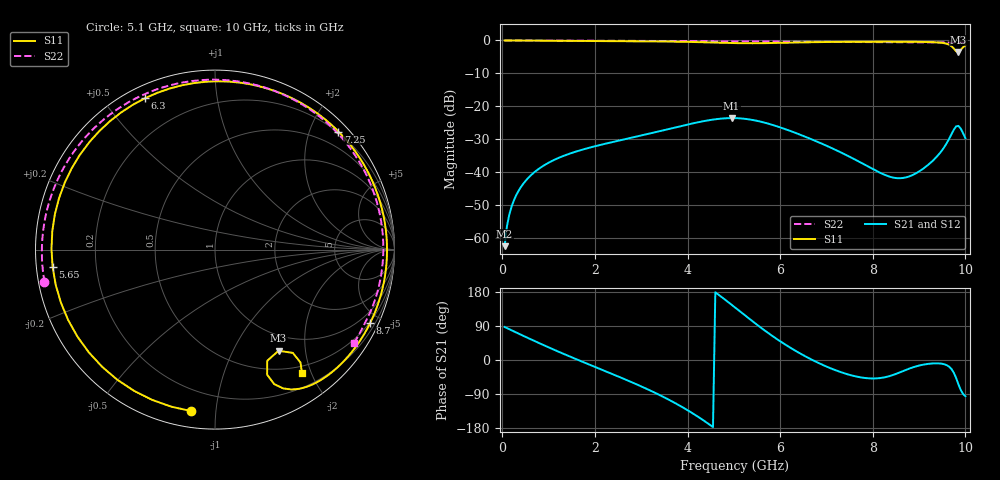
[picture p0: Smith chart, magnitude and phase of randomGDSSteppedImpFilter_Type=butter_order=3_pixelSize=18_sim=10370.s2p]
! freq	dB(S11)	phase(S11)	dB(S12)	phase(S12)
!  dB(S21)	phase(S21)	dB(S22)	phase(S22)
!S-par simulation data
#  GHz  S  DB  R 50
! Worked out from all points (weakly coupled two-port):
!   200 points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, 50 MHz to 10 GHz, reference 50 ohm
!   highest |S21| = -23.62 dB at 4.95 GHz (marker M1); lowest = -62.6 dB at 50 MHz (marker M2)
!   lowest |S11| = -3.5 dB at 9.85 GHz (marker M3), VSWR 4.98, Z = 37.9 - j76.7 ohm
!   |S11| at or under -10 dB: nowhere
!   |S22| runs from -0.6 to 0.0 dB; largest |S21 - S12| = 0
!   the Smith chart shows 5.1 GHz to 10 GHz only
!   S11 on the Smith chart (normalised r, x): 5.1 GHz: 0.08, -0.86; 5.65 GHz: 0.05, -0.05; 6.3 GHz: 0.05, +0.64; 7.25 GHz: 0.18, +2.48; 8.7 GHz: 0.46, -4.39; 10 GHz: 0.40, -1.86
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0.05  -0.00 -4.2  -62.58 87.1  -62.58 87.1  -0.01 -1.7
0.2  -0.02 -16.6  -50.57 78.4  -50.57 78.4  -0.02 -6.6
0.5  -0.05 -40.9  -42.76 61.1  -42.76 61.1  -0.02 -16.5
1.1  -0.10 -88.1  -36.47 28.0  -36.47 28.0  -0.04 -36.2
1.75  -0.15 -136.4  -33.13 -5.6  -33.13 -5.6  -0.07 -57.3
2.55  -0.22 165.7  -30.36 -45.9  -30.36 -45.9  -0.11 -83.1
3.4  -0.30 99.0  -27.59 -92.6  -27.59 -92.6  -0.16 -110.5
3.85  -0.39 57.6  -26.07 -121.7  -26.07 -121.7  -0.19 -125.3
4.3  -0.53 9.0  -24.68 -155.7  -24.68 -155.7  -0.22 -140.6
4.6  -0.65 -28.5  -23.97 178.6  -23.97 178.6  -0.25 -151.0
4.95  -0.78 -76.8  -23.62 145.9  -23.62 145.9  -0.28 -163.7
5.05  -0.81 -91.1  -23.64 136.3  -23.64 136.3  -0.29 -167.4
5.1  -0.82 -98.3  -23.67 131.4  -23.67 131.4  -0.29 -169.2
5.65  -0.82 -174.0  -24.95 79.4  -24.95 79.4  -0.33 169.3
6.3  -0.64 114.7  -27.96 26.6  -27.96 26.6  -0.39 141.3
6.7  -0.53 81.0  -30.20 -0.2  -30.20 -0.2  -0.42 122.6
7.25  -0.43 43.7  -33.65 -29.4  -33.65 -29.4  -0.47 95.4
8.35  -0.37 -11.3  -41.37 -42.9  -41.37 -42.9  -0.52 38.8
8.7  -0.39 -25.4  -41.71 -26.9  -41.71 -26.9  -0.54 21.5
9.55  -0.85 -58.8  -32.32 -11.5  -32.32 -11.5  -0.59 -16.6
9.85  -3.54 -57.9  -25.99 -64.2  -25.99 -64.2  -0.62 -28.3
10  -1.52 -54.8  -29.73 -95.6  -29.73 -95.6  -0.61 -34.0
